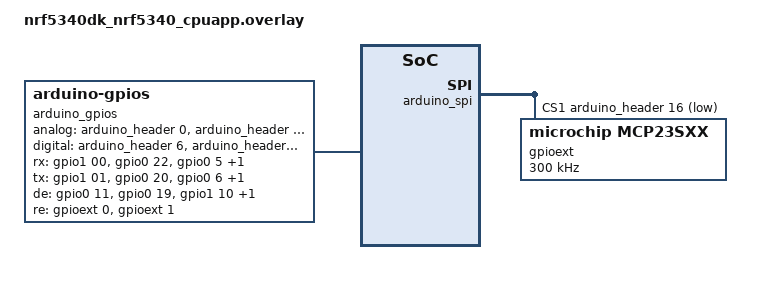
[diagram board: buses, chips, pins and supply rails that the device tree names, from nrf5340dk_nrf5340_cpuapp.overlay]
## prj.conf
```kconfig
CONFIG_SHELL=y
CONFIG_LOG=y
CONFIG_GPIO=y
CONFIG_SPI=y
CONFIG_GPIO_LOG_LEVEL_DBG=y
CONFIG_GPIO_SHELL=y
```

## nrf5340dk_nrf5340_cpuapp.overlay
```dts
&arduino_spi {
	status = "okay";

	cs-gpios = <&arduino_header 13 GPIO_ACTIVE_LOW>,		/* D7 */
				<&arduino_header 16 GPIO_ACTIVE_LOW>;		/* D10 */
	gpioext: mcp23s08@1 {
		compatible = "microchip,mcp23sxx";
		reg = <0x1>;
		spi-max-frequency = <300000>;
		gpio-controller;
		#gpio-cells = <2>;
		ngpios = <8>;
		gpio-line-names = "GPEXT0", "GPEXT1", "GPEXT2", "GPEXT3", "GPEXT4", "GPEXT5", "GPEXT6", "GPEXT7";
	};
};

/ {

    arduino_gpios: somenode {
        status = "okay";
        compatible = "arduino-gpios";
        analog-gpios =  <&arduino_header 0 GPIO_ACTIVE_HIGH>, // A0
                    <&arduino_header 1 GPIO_ACTIVE_HIGH>, // A1
                    <&arduino_header 2 GPIO_ACTIVE_HIGH>, // A2
                    <&arduino_header 3 GPIO_ACTIVE_HIGH>, // A3
                    <&arduino_header 4 GPIO_ACTIVE_HIGH>, // A4
                    <&arduino_header 5 GPIO_ACTIVE_HIGH>; // A5
    digital-gpios = <&arduino_header 6 GPIO_ACTIVE_HIGH>, // D0
                    <&arduino_header 7 GPIO_ACTIVE_HIGH>, // D1
                    <&arduino_header 8 GPIO_ACTIVE_HIGH>, // D2
                    <&arduino_header 9 GPIO_ACTIVE_HIGH>, // D3
                    <&arduino_header 10 GPIO_ACTIVE_HIGH>, // D4
                    <&arduino_header 11 GPIO_ACTIVE_HIGH>, // D5
                    <&arduino_header 12 GPIO_ACTIVE_HIGH>, // D6
                    <&arduino_header 13 GPIO_ACTIVE_HIGH>, // D7
                    <&arduino_header 14 GPIO_ACTIVE_HIGH>, // D8
                    <&arduino_header 15 GPIO_ACTIVE_HIGH>, // D9
                    <&arduino_header 16 GPIO_ACTIVE_HIGH>, // D10
                    <&arduino_header 17 GPIO_ACTIVE_HIGH>, // D11
                    <&arduino_header 18 GPIO_ACTIVE_HIGH>, // D12
                    <&arduino_header 19 GPIO_ACTIVE_HIGH>, // D13
                    <&arduino_header 20 GPIO_ACTIVE_HIGH>, // D14
                    <&arduino_header 21 GPIO_ACTIVE_HIGH>; // D15
    rx-gpios =      <&gpio1 00 GPIO_ACTIVE_HIGH>,          // UART1 RX
                    <&gpio0 22 GPIO_ACTIVE_HIGH>,          // UART2 RX
                    <&gpio0 5 GPIO_ACTIVE_HIGH>,           // EXT1 GPIO1_RX
                    <&gpio0 7 GPIO_ACTIVE_HIGH>;           // EXT2 GPIO1_RX
    tx-gpios =      <&gpio1 01 GPIO_ACTIVE_HIGH>,          // UART1_TX
                    <&gpio0 20 GPIO_ACTIVE_HIGH>,          // UART2_TX
                    <&gpio0 6 GPIO_ACTIVE_HIGH>,           // EXT1 GPIO2_TX
                    <&gpio0 25 GPIO_ACTIVE_HIGH>;          // EXT2 GPIO1_TX
    de-gpios =      <&gpio0 11 GPIO_ACTIVE_HIGH>,          // UART1_RTS
                    <&gpio0 19 GPIO_ACTIVE_HIGH>,          // UART2_RTS
                    <&gpio1 10 GPIO_ACTIVE_HIGH>,          // EXT1 CS
                    <&gpio1 11 GPIO_ACTIVE_HIGH>;          // EXT2 CS
    re-gpios =      <0>,                                   // N/A
                    <0>,                                   // N/A
                    <&gpioext 0 GPIO_ACTIVE_HIGH>,         // EXT1 IRQ
                    <&gpioext 1 GPIO_ACTIVE_HIGH>;         // EXT2 IRQ
    };
};
```

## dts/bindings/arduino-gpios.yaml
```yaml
  description: Definition for Arduino GPIO pins
  compatible: "arduino-gpios"

  properties:
    analog-gpios:
      type: phandle-array
      required: false
      description: |
        Analog GPIOs
    digital-gpios:
      type: phandle-array
      required: false
      description: |
        Digital GPIOs
    tx-gpios:
      type: phandle-array
      required: false
      description: |
        TX GPIOs
    rx-gpios:
      type: phandle-array
      required: false
      description: |
        RX GPIOs
    de-gpios:
      type: phandle-array
      required: false
      description: |
        DE GPIOs
    re-gpios:
      type: phandle-array
      required: false
      description: |
        RE GPIOs
```

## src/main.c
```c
/*
 * Copyright (c) 2012-2014 Wind River Systems, Inc.
 *
 * SPDX-License-Identifier: Apache-2.0
 */

#include <zephyr/zephyr.h>
#include <zephyr/drivers/gpio.h>
#include <zephyr/shell/shell.h>
#include <zephyr/logging/log.h>

#define MODULE main
LOG_MODULE_REGISTER(MODULE, LOG_LEVEL_DBG);

struct gpio {
    const char *name;
    struct gpio_dt_spec gpio;
    enum gpio_mode {
        MODE_UNDEFINED = 0,
        MODE_INPUT,
        MODE_OUTPUT,
        MODE_BIDIR
    } mode;
} gpios[] = {
    {"led0", GPIO_DT_SPEC_GET(DT_ALIAS(led0), gpios), MODE_OUTPUT},
    {"led1", GPIO_DT_SPEC_GET(DT_ALIAS(led1), gpios), MODE_OUTPUT},
    {"led2", GPIO_DT_SPEC_GET(DT_ALIAS(led2), gpios), MODE_OUTPUT},
    {"led3", GPIO_DT_SPEC_GET(DT_ALIAS(led3), gpios), MODE_OUTPUT},
    {"sw0", GPIO_DT_SPEC_GET(DT_ALIAS(sw0), gpios), MODE_INPUT},
    {"sw1", GPIO_DT_SPEC_GET(DT_ALIAS(sw1), gpios), MODE_INPUT},
    {"sw2", GPIO_DT_SPEC_GET(DT_ALIAS(sw2), gpios), MODE_INPUT},
    {"sw3", GPIO_DT_SPEC_GET(DT_ALIAS(sw3), gpios), MODE_INPUT},
    {"A0", GPIO_DT_SPEC_GET_BY_IDX(DT_NODELABEL(arduino_gpios), analog_gpios, 0), MODE_BIDIR},
    {"A1", GPIO_DT_SPEC_GET_BY_IDX(DT_NODELABEL(arduino_gpios), analog_gpios, 1), MODE_BIDIR},
    {"A2", GPIO_DT_SPEC_GET_BY_IDX(DT_NODELABEL(arduino_gpios), analog_gpios, 2), MODE_BIDIR},
    {"A3", GPIO_DT_SPEC_GET_BY_IDX(DT_NODELABEL(arduino_gpios), analog_gpios, 3), MODE_BIDIR},
    {"A4", GPIO_DT_SPEC_GET_BY_IDX(DT_NODELABEL(arduino_gpios), analog_gpios, 4), MODE_BIDIR},
    {"A5", GPIO_DT_SPEC_GET_BY_IDX(DT_NODELABEL(arduino_gpios), analog_gpios, 5), MODE_BIDIR},
    {"D0", GPIO_DT_SPEC_GET_BY_IDX(DT_NODELABEL(arduino_gpios), digital_gpios, 0), MODE_BIDIR},
    {"D1", GPIO_DT_SPEC_GET_BY_IDX(DT_NODELABEL(arduino_gpios), digital_gpios, 1), MODE_BIDIR},
    {"D2", GPIO_DT_SPEC_GET_BY_IDX(DT_NODELABEL(arduino_gpios), digital_gpios, 2), MODE_BIDIR},
    {"D3", GPIO_DT_SPEC_GET_BY_IDX(DT_NODELABEL(arduino_gpios), digital_gpios, 3), MODE_BIDIR},
    {"D4", GPIO_DT_SPEC_GET_BY_IDX(DT_NODELABEL(arduino_gpios), digital_gpios, 4), MODE_BIDIR},
    {"D5", GPIO_DT_SPEC_GET_BY_IDX(DT_NODELABEL(arduino_gpios), digital_gpios, 5), MODE_BIDIR},
    {"D6", GPIO_DT_SPEC_GET_BY_IDX(DT_NODELABEL(arduino_gpios), digital_gpios, 6), MODE_BIDIR},
    {"D7", GPIO_DT_SPEC_GET_BY_IDX(DT_NODELABEL(arduino_gpios), digital_gpios, 7), MODE_BIDIR},
    {"D8", GPIO_DT_SPEC_GET_BY_IDX(DT_NODELABEL(arduino_gpios), digital_gpios, 8), MODE_BIDIR},
    {"D9", GPIO_DT_SPEC_GET_BY_IDX(DT_NODELABEL(arduino_gpios), digital_gpios, 9), MODE_BIDIR},
    {"D10", GPIO_DT_SPEC_GET_BY_IDX(DT_NODELABEL(arduino_gpios), digital_gpios, 10), MODE_BIDIR},
    {"D11", GPIO_DT_SPEC_GET_BY_IDX(DT_NODELABEL(arduino_gpios), digital_gpios, 11), MODE_BIDIR},
    {"D12", GPIO_DT_SPEC_GET_BY_IDX(DT_NODELABEL(arduino_gpios), digital_gpios, 12), MODE_BIDIR},
    {"D13", GPIO_DT_SPEC_GET_BY_IDX(DT_NODELABEL(arduino_gpios), digital_gpios, 13), MODE_BIDIR},
    {"D14", GPIO_DT_SPEC_GET_BY_IDX(DT_NODELABEL(arduino_gpios), digital_gpios, 14), MODE_BIDIR},
    {"D15", GPIO_DT_SPEC_GET_BY_IDX(DT_NODELABEL(arduino_gpios), digital_gpios, 15), MODE_BIDIR},
    {"TX", GPIO_DT_SPEC_GET_BY_IDX(DT_NODELABEL(arduino_gpios), tx_gpios, 0), MODE_BIDIR},
    {"RX", GPIO_DT_SPEC_GET_BY_IDX(DT_NODELABEL(arduino_gpios), rx_gpios, 0), MODE_BIDIR},
    {"DE", GPIO_DT_SPEC_GET_BY_IDX(DT_NODELABEL(arduino_gpios), de_gpios, 0), MODE_BIDIR},
    {"TX2", GPIO_DT_SPEC_GET_BY_IDX(DT_NODELABEL(arduino_gpios), tx_gpios, 1), MODE_BIDIR},
    {"RX2", GPIO_DT_SPEC_GET_BY_IDX(DT_NODELABEL(arduino_gpios), rx_gpios, 1), MODE_BIDIR},
    {"DE2", GPIO_DT_SPEC_GET_BY_IDX(DT_NODELABEL(arduino_gpios), de_gpios, 1), MODE_BIDIR},
    {"E1TX", GPIO_DT_SPEC_GET_BY_IDX(DT_NODELABEL(arduino_gpios), tx_gpios, 2), MODE_BIDIR},
    {"E1RX", GPIO_DT_SPEC_GET_BY_IDX(DT_NODELABEL(arduino_gpios), rx_gpios, 2), MODE_BIDIR},
    {"E1DE", GPIO_DT_SPEC_GET_BY_IDX(DT_NODELABEL(arduino_gpios), de_gpios, 2), MODE_BIDIR},
    {"E1RE", GPIO_DT_SPEC_GET_BY_IDX(DT_NODELABEL(arduino_gpios), re_gpios, 2), MODE_BIDIR},
    {"E2TX", GPIO_DT_SPEC_GET_BY_IDX(DT_NODELABEL(arduino_gpios), tx_gpios, 3), MODE_BIDIR},
    {"E2RX", GPIO_DT_SPEC_GET_BY_IDX(DT_NODELABEL(arduino_gpios), rx_gpios, 3), MODE_BIDIR},
    {"F2DE", GPIO_DT_SPEC_GET_BY_IDX(DT_NODELABEL(arduino_gpios), de_gpios, 3), MODE_BIDIR},
    {"E2RE", GPIO_DT_SPEC_GET_BY_IDX(DT_NODELABEL(arduino_gpios), re_gpios, 3), MODE_BIDIR},
};

static int mode_to_gpio(enum gpio_mode mode)
{
    switch(mode) {
        case MODE_INPUT:
            return GPIO_INPUT;
        case MODE_OUTPUT:
            return GPIO_OUTPUT;
        case MODE_BIDIR:
            return GPIO_INPUT;
        default:
            LOG_ERR("Invalid mode %d", mode);
            return MODE_INPUT;
    }
}

void main(void)
{
    #if 0
    for (int i = 0; i < ARRAY_SIZE(gpios); i++) {
        gpio_pin_configure_dt(&gpios[i].gpio, mode_to_gpio(gpios[i].mode));
    }
    #endif
}

static struct gpio * find_gpio(const char *name)
{
    for (int i = 0; i < ARRAY_SIZE(gpios); i++) {
        if (strcmp(gpios[i].name, name) == 0)
            return &gpios[i];
    }
    LOG_ERR("GPIO %s not found", name);
    return NULL;
}

static int do_set(struct gpio *gpio, bool value)
{
    if (!gpio)
        return -1;
    //if (gpio->mode == MODE_BIDIR)
        gpio_pin_configure_dt(&gpio->gpio, GPIO_OUTPUT);
    return gpio_pin_set_dt(&gpio->gpio, value);
}


static int do_get(struct gpio *gpio)
{
    if (!gpio)
        return -1;
    //if (gpio->mode == MODE_BIDIR)
        gpio_pin_configure_dt(&gpio->gpio, GPIO_INPUT);
    return gpio_pin_get_dt(&gpio->gpio);
}

static int sh_set(const struct shell *shell, size_t argc, char **argv)
{
    struct gpio *gpio = find_gpio(argv[1]);
    return do_set(gpio, true);
}

static int sh_clear(const struct shell *shell, size_t argc, char **argv)
{
    struct gpio *gpio = find_gpio(argv[1]);
    return do_set(gpio, false);
}

static int sh_get(const struct shell *shell, size_t argc, char **argv)
{
    struct gpio *gpio = find_gpio(argv[1]);
    int value = do_get(gpio);
    shell_fprintf(shell, SHELL_NORMAL, "%s = %d\n", argv[1], value);
    return 0;
}

SHELL_CMD_ARG_REGISTER(set, NULL, "Set GPIO", sh_set, 2, 0);
SHELL_CMD_ARG_REGISTER(clear, NULL, "Set GPIO", sh_clear, 2, 0);
SHELL_CMD_ARG_REGISTER(get, NULL, "Get GPIO", sh_get, 2, 0);
```
